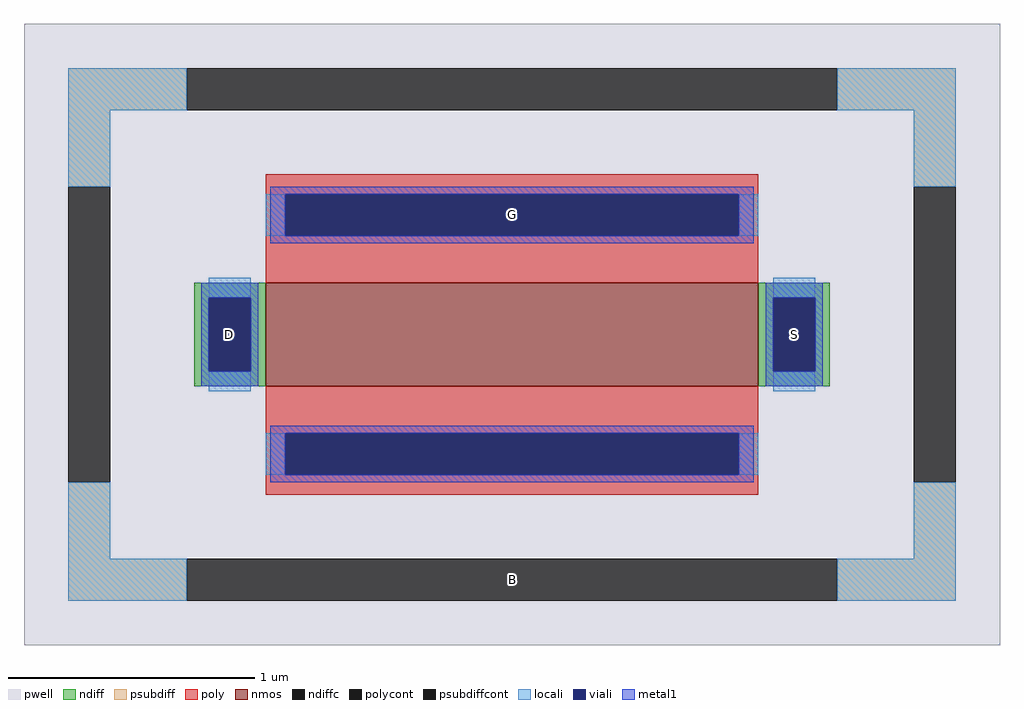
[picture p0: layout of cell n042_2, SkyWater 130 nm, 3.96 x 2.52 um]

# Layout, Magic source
magic
tech sky130A
magscale 1 2
<< pwell >>
rect -396 -252 396 252
<< nmos >>
rect -200 -42 200 42
<< ndiff >>
rect -258 30 -200 42
rect -258 -30 -246 30
rect -212 -30 -200 30
rect -258 -42 -200 -30
rect 200 30 258 42
rect 200 -30 212 30
rect 246 -30 258 30
rect 200 -42 258 -30
<< ndiffc >>
rect -246 -30 -212 30
rect 212 -30 246 30
<< psubdiff >>
rect -360 182 -264 216
rect 264 182 360 216
rect -360 120 -326 182
rect 326 120 360 182
rect -360 -182 -326 -120
rect 326 -182 360 -120
rect -360 -216 -264 -182
rect 264 -216 360 -182
<< psubdiffcont >>
rect -264 182 264 216
rect -360 -120 -326 120
rect 326 -120 360 120
rect -264 -216 264 -182
<< poly >>
rect -200 114 200 130
rect -200 80 -184 114
rect 184 80 200 114
rect -200 42 200 80
rect -200 -80 200 -42
rect -200 -114 -184 -80
rect 184 -114 200 -80
rect -200 -130 200 -114
<< polycont >>
rect -184 80 184 114
rect -184 -114 184 -80
<< locali >>
rect -360 182 -264 216
rect 264 182 360 216
rect -360 120 -326 182
rect 326 120 360 182
rect -200 80 -184 114
rect 184 80 200 114
rect -246 30 -212 46
rect -246 -46 -212 -30
rect 212 30 246 46
rect 212 -46 246 -30
rect -200 -114 -184 -80
rect 184 -114 200 -80
rect -360 -182 -326 -120
rect 326 -182 360 -120
rect -360 -216 -264 -182
rect 264 -216 360 -182
<< viali >>
rect -184 80 184 114
rect -246 -30 -212 30
rect 212 -30 246 30
rect -184 -114 184 -80
<< metal1 >>
rect -196 114 196 120
rect -196 80 -184 114
rect 184 80 196 114
rect -196 74 196 80
rect -252 30 -206 42
rect -252 -30 -246 30
rect -212 -30 -206 30
rect -252 -42 -206 -30
rect 206 30 252 42
rect 206 -30 212 30
rect 246 -30 252 30
rect 206 -42 252 -30
rect -196 -80 196 -74
rect -196 -114 -184 -80
rect 184 -114 196 -80
rect -196 -120 196 -114
<< labels >>
rlabel psubdiffcont 0 -199 0 -199 0 B
port 1 nsew
rlabel ndiffc -229 0 -229 0 0 D
port 2 nsew
rlabel ndiffc 229 0 229 0 0 S
port 3 nsew
rlabel polycont 0 97 0 97 0 G
port 4 nsew
<< properties >>
string FIXED_BBOX -343 -199 343 199
string gencell sky130_fd_pr__nfet_01v8
string library sky130
string parameters w 0.42 l 2 m 1 nf 1 diffcov 100 polycov 100 guard 1 glc 1 grc 1 gtc 1 gbc 1 tbcov 100 rlcov 100 topc 1 botc 1 poverlap 0 doverlap 1 lmin 0.15 wmin 0.42 class mosfet compatible {sky130_fd_pr__nfet_01v8 sky130_fd_pr__nfet_01v8_lvt  sky130_fd_bs_flash__special_sonosfet_star  sky130_fd_pr__nfet_g5v0d10v5 sky130_fd_pr__nfet_05v0_nvt  sky130_fd_pr__nfet_03v3_nvt} full_metal 1 conn_gates 0 viasrc 100 viadrn 100 viagate 100 viagb 0 viagr 0 viagl 0 viagt 0 doports 1
<< end >>
